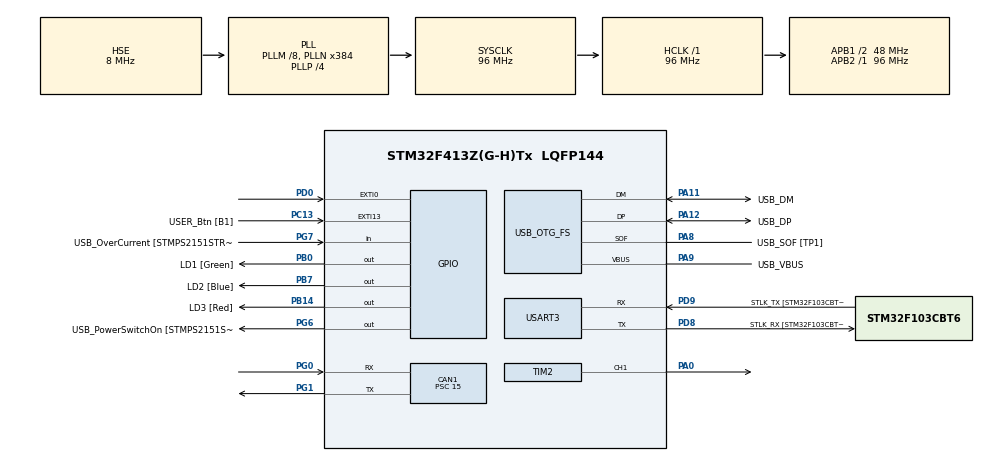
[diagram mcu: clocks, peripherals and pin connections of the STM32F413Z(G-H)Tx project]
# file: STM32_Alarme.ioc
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CAN1.BS1=CAN_BS1_2TQ
CAN1.BS2=CAN_BS2_2TQ
CAN1.CalculateBaudRate=640000
CAN1.CalculateTimeBit=1562
CAN1.CalculateTimeQuantum=312.5
CAN1.NART=ENABLE
CAN1.Prescaler=15
CAN1.SJW=CAN_SJW_2TQ
Mcu.Family=STM32F4
Mcu.Name=STM32F413Z(G-H)Tx
Mcu.Package=LQFP144
NVIC.CAN1_TX_IRQn=true\:0\:0\:false\:false\:true\:true\:true\:true
NVIC.EXTI15_10_IRQn=true\:0\:0\:false\:false\:true\:true\:true\:true
NVIC.PriorityGroup=NVIC_PRIORITYGROUP_4
PA0.Signal=S_TIM2_CH1_ETR
PA10.GPIO_Label=USB_ID
PA10.Signal=USB_OTG_FS_ID
PA11.GPIO_Label=USB_DM
PA11.Mode=Device_Only
PA11.Signal=USB_OTG_FS_DM
PA12.GPIO_Label=USB_DP
PA12.Mode=Device_Only
PA12.Signal=USB_OTG_FS_DP
PA13.GPIO_Label=TMS
PA13.Mode=Serial_Wire
PA13.Signal=SYS_JTMS-SWDIO
PA14.GPIO_Label=TCK
PA14.Mode=Serial_Wire
PA14.Signal=SYS_JTCK-SWCLK
PA8.GPIO_Label=USB_SOF [TP1]
PA8.Mode=Activate_SOF_FS
PA8.Signal=USB_OTG_FS_SOF
PA9.GPIO_Label=USB_VBUS
PA9.Mode=Activate_VBUS
PA9.Signal=USB_OTG_FS_VBUS
PB0.GPIO_Label=LD1 [Green]
PB0.Signal=GPIO_Output
PB14.GPIO_Label=LD3 [Red]
PB14.Signal=GPIO_Output
PB3.GPIO_Label=SWO
PB3.Signal=SYS_JTDO-SWO
PB7.GPIO_Label=LD2 [Blue]
PB7.Signal=GPIO_Output
PC13.GPIO_Label=USER_Btn [B1]
PC13.Signal=GPXTI13
PC14-OSC32_IN.Mode=LSE-External-Oscillator
PC14-OSC32_IN.Signal=RCC_OSC32_IN
PC15-OSC32_OUT.Mode=LSE-External-Oscillator
PC15-OSC32_OUT.Signal=RCC_OSC32_OUT
PD0.Signal=GPXTI0
PD8.GPIO_Label=STLK_RX [STM32F103CBT6_PA3]
PD8.Mode=Asynchronous
PD8.Signal=USART3_TX
PD9.GPIO_Label=STLK_TX [STM32F103CBT6_PA2]
PD9.Mode=Asynchronous
PD9.Signal=USART3_RX
PG0.GPIO_PuPd=GPIO_PULLUP
PG0.Mode=CAN_Activate
PG0.Signal=CAN1_RX
PG1.Mode=CAN_Activate
PG1.Signal=CAN1_TX
PG6.GPIO_Label=USB_PowerSwitchOn [STMPS2151STR_EN]
PG6.Signal=GPIO_Output
PG7.GPIO_Label=USB_OverCurrent [STMPS2151STR_FAULT]
PG7.Signal=GPIO_Input
PH0\ -\ OSC_IN.GPIO_Label=MCO
PH0\ -\ OSC_IN.Mode=HSE-External-Clock-Source
PH0\ -\ OSC_IN.Signal=RCC_OSC_IN
PH1\ -\ OSC_OUT.Mode=HSE-External-Clock-Source
PH1\ -\ OSC_OUT.Signal=RCC_OSC_OUT
ProjectManager.HeapSize=0x200
ProjectManager.StackSize=0x400
ProjectManager.TargetToolchain=STM32CubeIDE
RCC.48MHZClocksFreq_Value=24000000
RCC.AHBFreq_Value=96000000
RCC.APB1CLKDivider=RCC_HCLK_DIV2
RCC.APB1Freq_Value=48000000
RCC.APB1TimFreq_Value=96000000
RCC.APB2Freq_Value=96000000
RCC.APB2TimFreq_Value=96000000
RCC.CortexFreq_Value=96000000
RCC.HCLKFreq_Value=96000000
RCC.HSE_VALUE=8000000
RCC.HSI_VALUE=16000000
RCC.PLLM=8
RCC.PLLMUL=RCC_PLL_MUL9
RCC.PLLN=384
RCC.PLLP=RCC_PLLP_DIV4
RCC.PLLQ=8
RCC.PRESCALERUSB=RCC_USBCLKSOURCE_PLL_DIV1_5
RCC.SYSCLKFreq_VALUE=96000000
RCC.SYSCLKSource=RCC_SYSCLKSOURCE_PLLCLK
RCC.SYSCLKSourceVirtual=RCC_SYSCLKSOURCE_PLLCLK
RCC.USBFreq_Value=48000000
RCC.VCOOutputFreq_Value=384000000
SH.S_TIM2_CH1_ETR.0=TIM2_CH1,PWM Generation1 CH1
TIM1.Prescaler=48
TIM2.Channel-PWM\ Generation1\ CH1=TIM_CHANNEL_1
TIM2.Period=2000
TIM2.Prescaler=96
USART3.VirtualMode=VM_ASYNC
USB_OTG_FS.VirtualMode=Device_Only
VP_TIM1_VS_ClockSourceINT.Mode=Internal
VP_TIM1_VS_ClockSourceITR.Mode=TriggerSource_ITR0
VP_TIM2_VS_ClockSourceINT.Mode=Internal
board=NUCLEO-F413ZH

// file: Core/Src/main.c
/* USER CODE BEGIN Header */
/**
  ******************************************************************************
  * @file           : main.c
  * @brief          : Main program body
  ******************************************************************************
  * @attention
  *
  * Copyright (c) 2024 STMicroelectronics.
  * All rights reserved.
  *
  * This software is licensed under terms that can be found in the LICENSE file
  * in the root directory of this software component.
  * If no LICENSE file comes with this software, it is provided AS-IS.
  *
  ******************************************************************************
  */
/* USER CODE END Header */
#include "main.h"
#include "can.h"
#include "tim.h"
#include "usart.h"
#include "usb_otg.h"
#include "gpio.h"

void SystemClock_Config(void);

/* USER CODE BEGIN 0 */
void setDutyCycle(uint8_t duty_cycle)
{
	if (duty_cycle > 50) duty_cycle = 50;  // limite à %
	uint32_t CCR_value = (uint32_t) (htim2.Init.Period * duty_cycle) / 100;
	TIM2->CCR2=CCR_value;
}
/* USER CODE END 0 */

int main(void)
{
  /* USER CODE BEGIN 1 */
	uint32_t high_state_count = 0;
	uint32_t low_state_count = 0;
	uint32_t current_cyclic_ratio;

  /* USER CODE END 1 */

  /* MCU Configuration--------------------------------------------------------*/

  /* Reset of all peripherals, Initializes the Flash interface and the Systick. */
  HAL_Init();

  /* Configure the system clock */
  SystemClock_Config();

  /* Initialize all configured peripherals */
  MX_GPIO_Init();
  MX_USART3_UART_Init();
  MX_USB_OTG_FS_PCD_Init();
  MX_CAN1_Init();
  MX_TIM1_Init();
  MX_TIM2_Init();

  HAL_TIM_PWM_Start(&htim2,TIM_CHANNEL_2); // Démarrer le Timer de la PWM
  /* USER CODE BEGIN 2 */

// test de commit

  /* USER CODE END 2 */

  /* Infinite loop */
  while (1)
  {

  }
}

void SystemClock_Config(void)
{
  RCC_OscInitTypeDef RCC_OscInitStruct = {0};
  RCC_ClkInitTypeDef RCC_ClkInitStruct = {0};

  /** Configure the main internal regulator output voltage
  */
  __HAL_RCC_PWR_CLK_ENABLE();
  __HAL_PWR_VOLTAGESCALING_CONFIG(PWR_REGULATOR_VOLTAGE_SCALE1);

  /** Initializes the RCC Oscillators according to the specified parameters
  * in the RCC_OscInitTypeDef structure.
  */
  RCC_OscInitStruct.OscillatorType = RCC_OSCILLATORTYPE_HSE;
  RCC_OscInitStruct.HSEState = RCC_HSE_BYPASS;
  RCC_OscInitStruct.PLL.PLLState = RCC_PLL_ON;
  RCC_OscInitStruct.PLL.PLLSource = RCC_PLLSOURCE_HSE;
  RCC_OscInitStruct.PLL.PLLM = 8;
  RCC_OscInitStruct.PLL.PLLN = 384;
  RCC_OscInitStruct.PLL.PLLP = RCC_PLLP_DIV4;
  RCC_OscInitStruct.PLL.PLLQ = 8;
  RCC_OscInitStruct.PLL.PLLR = 2;
  if (HAL_RCC_OscConfig(&RCC_OscInitStruct) != HAL_OK)
  {
    Error_Handler();
  }

  /** Initializes the CPU, AHB and APB buses clocks
  */
  RCC_ClkInitStruct.ClockType = RCC_CLOCKTYPE_HCLK|RCC_CLOCKTYPE_SYSCLK
                              |RCC_CLOCKTYPE_PCLK1|RCC_CLOCKTYPE_PCLK2;
  RCC_ClkInitStruct.SYSCLKSource = RCC_SYSCLKSOURCE_PLLCLK;
  RCC_ClkInitStruct.AHBCLKDivider = RCC_SYSCLK_DIV1;
  RCC_ClkInitStruct.APB1CLKDivider = RCC_HCLK_DIV2;
  RCC_ClkInitStruct.APB2CLKDivider = RCC_HCLK_DIV1;

  if (HAL_RCC_ClockConfig(&RCC_ClkInitStruct, FLASH_LATENCY_3) != HAL_OK)
  {
    Error_Handler();
  }
}

/* USER CODE BEGIN 4 */

void HAL_GPIO_EXTI_Callback(uint16_t GPIO_Pin)
{
  if(GPIO_Pin == GPIO_PIN_0) {
	  // Start timer
	  HAL_TIM_Base_Start(&htim1);
	  //GPIO_InitStruct->Mode =
    // TODO : implémenter la fonction de callback
	// démarre le timer
  //} else {
  //    __NOP();
  }

  if (GPIO_Pin == GPIO_PIN_13) // appui sur bouton USER
  {
      uint8_t duty_cycle = 0;

      if (duty_cycle < 50) // limite 50%
      {
          duty_cycle += 10;
      }

      setDutyCycle(duty_cycle); // augmentation du rapport cyclique de 10%
  }
}
/* USER CODE END 4 */

void Error_Handler(void)
{
  __disable_irq();
  while (1)
  {
  }
}
